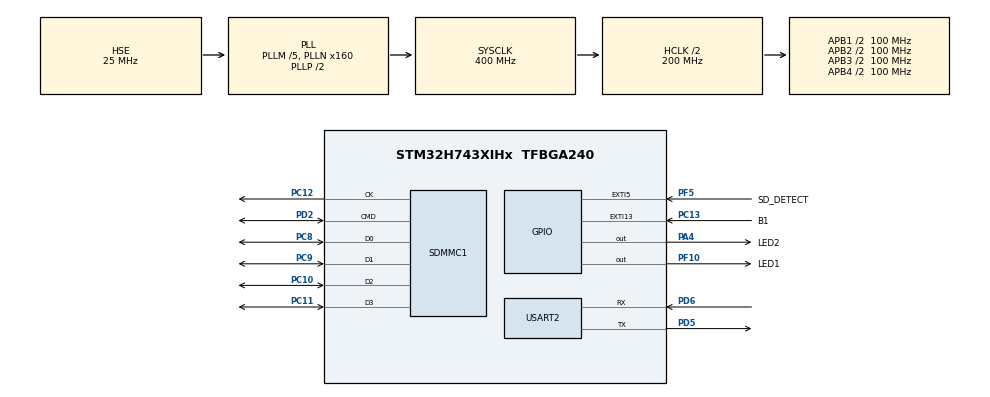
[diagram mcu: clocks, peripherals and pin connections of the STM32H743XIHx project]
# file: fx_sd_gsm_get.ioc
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CORTEX_M7.CPU_DCache=Enabled
CORTEX_M7.CPU_ICache=Enabled
CORTEX_M7.default_mode_Activation=1
Mcu.Family=STM32H7
Mcu.Name=STM32H743XIHx
Mcu.Package=TFBGA240
NVIC.EXTI9_5_IRQn=true\:6\:0\:true\:false\:true\:false\:true\:true\:true
NVIC.PriorityGroup=NVIC_PRIORITYGROUP_4
NVIC.SDMMC1_IRQn=true\:7\:0\:true\:false\:true\:false\:true\:true\:true
NVIC.TIM6_DAC_IRQn=true\:15\:0\:false\:false\:true\:false\:false\:true\:true
NVIC.TimeBase=TIM6_DAC_IRQn
NVIC.TimeBaseIP=TIM6
NVIC.USART2_IRQn=true\:0\:0\:false\:false\:true\:false\:true\:true\:true
PA4.GPIO_Label=LED2
PA4.GPIO_Speed=GPIO_SPEED_FREQ_HIGH
PA4.PinState=GPIO_PIN_SET
PA4.Signal=GPIO_Output
PC10.Mode=SD_4_bits_Wide_bus
PC10.Signal=SDMMC1_D2
PC11.Mode=SD_4_bits_Wide_bus
PC11.Signal=SDMMC1_D3
PC12.Mode=SD_4_bits_Wide_bus
PC12.Signal=SDMMC1_CK
PC13.GPIO_Label=B1
PC13.Signal=GPXTI13
PC8.Mode=SD_4_bits_Wide_bus
PC8.Signal=SDMMC1_D0
PC9.Mode=SD_4_bits_Wide_bus
PC9.Signal=SDMMC1_D1
PD2.Mode=SD_4_bits_Wide_bus
PD2.Signal=SDMMC1_CMD
PD5.Mode=Asynchronous
PD5.Signal=USART2_TX
PD6.Mode=Asynchronous
PD6.Signal=USART2_RX
PF10.GPIO_Label=LED1
PF10.GPIO_Speed=GPIO_SPEED_FREQ_HIGH
PF10.PinState=GPIO_PIN_SET
PF10.Signal=GPIO_Output
PF5.GPIO_Label=SD_DETECT
PF5.GPIO_ModeDefaultEXTI=GPIO_MODE_IT_RISING_FALLING
PF5.GPIO_PuPd=GPIO_PULLUP
PF5.Signal=GPXTI5
PH0-OSC_IN\ (PH0).Mode=HSE-External-Oscillator
PH0-OSC_IN\ (PH0).Signal=RCC_OSC_IN
PH1-OSC_OUT\ (PH1).Mode=HSE-External-Oscillator
PH1-OSC_OUT\ (PH1).Signal=RCC_OSC_OUT
ProjectManager.HeapSize=0x200
ProjectManager.StackSize=0x400
ProjectManager.TargetToolchain=STM32CubeIDE
RCC.ADCFreq_Value=50390625
RCC.APB1Freq_Value=100000000
RCC.APB2Freq_Value=100000000
RCC.APB3Freq_Value=100000000
RCC.APB4Freq_Value=100000000
RCC.CortexFreq_Value=400000000
RCC.D1PPRE=RCC_APB3_DIV2
RCC.D2PPRE1=RCC_APB1_DIV2
RCC.D2PPRE2=RCC_APB2_DIV2
RCC.D3PPRE=RCC_APB4_DIV2
RCC.DIVM1=5
RCC.DIVN1=160
RCC.DIVN3=160
RCC.DIVQ1=4
RCC.HCLKFreq_Value=200000000
RCC.HPRE=RCC_HCLK_DIV2
RCC.PLL2FRACN=0
RCC.PLL3FRACN=0
RCC.PLLFRACN=0
RCC.PLLSourceVirtual=RCC_PLLSOURCE_HSE
RCC.PWR_Regulator_Voltage_Scale=PWR_REGULATOR_VOLTAGE_SCALE1
RCC.SDMMC1CLockSelection=RCC_SDMMCCLKSOURCE_PLL2
RCC.SYSCLKFreq_VALUE=400000000
RCC.SYSCLKSource=RCC_SYSCLKSOURCE_PLLCLK
RCC.USBFreq_Value=200000000
STMicroelectronics.X-CUBE-AZRTOS-H7.3.2.0.FX_DRIVER_SD_INIT=1
STMicroelectronics.X-CUBE-AZRTOS-H7.3.2.0.FileXCcFileOoSystemJjFileXJjCore=true
STMicroelectronics.X-CUBE-AZRTOS-H7.3.2.0.InterfacesCcFileOoSystemJjFileXOoSDOointerface=true
STMicroelectronics.X-CUBE-AZRTOS-H7.3.2.0.ThreadXCcRTOSJjThreadXJjCore=true
STMicroelectronics.X-CUBE-AZRTOS-H7.3.2.0_IsAnAzureRtosMw=true
USART2.VirtualMode-Asynchronous=VM_ASYNC
VP_STMicroelectronics.X-CUBE-AZRTOS-H7_VS_FileOoSystemJjFileX_6.2.1_3.2.0.Mode=FileOoSystemJjFileX
VP_STMicroelectronics.X-CUBE-AZRTOS-H7_VS_FileOoSystemJjInterfaces_3.2.0_3.2.0.Mode=FileOoSystemJjInterfaces
VP_STMicroelectronics.X-CUBE-AZRTOS-H7_VS_RTOSJjThreadX_6.2.1_3.2.0.Mode=RTOSJjThreadX
VP_SYS_VS_tim6.Mode=TIM6
board=STM32H743I-EVAL2

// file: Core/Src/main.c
/* USER CODE BEGIN Header */
/**
  ******************************************************************************
  * @file           : main.c
  * @brief          : Main program body
  ******************************************************************************
  * @attention
  *
  * Copyright (c) 2024 STMicroelectronics.
  * All rights reserved.
  *
  * This software is licensed under terms that can be found in the LICENSE file
  * in the root directory of this software component.
  * If no LICENSE file comes with this software, it is provided AS-IS.
  *
  ******************************************************************************
  */
/* USER CODE END Header */
#include "app_threadx.h"
#include "main.h"
#include "sdmmc.h"
#include "usart.h"
#include "gpio.h"

/* USER CODE BEGIN Includes */
#include <stdlib.h>
#include "MQTTSim800.h"
#include <string.h>
#include <stdio.h>
/* USER CODE END Includes */

/* USER CODE BEGIN PV */
SIM800_t SIM800;
uint8_t buf[30] = {0};
//uint8_t sub = 0;
unsigned char  rec[64] ;

/* USER CODE END PV */

void SystemClock_Config(void);
//static void MPU_Config(void);
/* USER CODE BEGIN PFP */
 uint32_t GetSector(uint32_t Address);

/* USER CODE END PFP */

/* USER CODE BEGIN 0 */
 void HAL_UART_RxCpltCallback(UART_HandleTypeDef *huart) {
     if (huart == UART_SIM800) {
         Sim800_RxCallBack();
     }
 }
/* USER CODE END 0 */

int main(void)
{

  /* Enable I-Cache---------------------------------------------------------*/
  SCB_EnableICache();

  /* Enable D-Cache---------------------------------------------------------*/
  SCB_EnableDCache();

  /* MCU Configuration--------------------------------------------------------*/

  /* Reset of all peripherals, Initializes the Flash interface and the Systick. */
  HAL_Init();

  /* MPU Configuration--------------------------------------------------------*/
  //MPU_Config();

  /* Configure the system clock */
  SystemClock_Config();

  /* Initialize all configured peripherals */
  MX_GPIO_Init();
  MX_SDMMC1_SD_Init();
  MX_USART2_UART_Init();
  /* USER CODE BEGIN 2 */
  // MQQT settings
      SIM800.sim.apn = "weborange";
      SIM800.sim.apn_user = "";
      SIM800.sim.apn_pass = "";
      SIM800.mqttServer.host = "test.mosquitto.org";
      SIM800.mqttServer.port = 1883;
      SIM800.mqttClient.username = "";
      SIM800.mqttClient.pass = "";
      SIM800.mqttClient.clientID = "TestSub";
      SIM800.mqttClient.keepAliveInterval = 120;

      MQTT_Init();

  /* USER CODE END 2 */

  MX_ThreadX_Init();

  /* We should never get here as control is now taken by the scheduler */
  /* Infinite loop */
  while (1)
  {

  }
}

void SystemClock_Config(void)
{
	RCC_ClkInitTypeDef RCC_ClkInitStruct;
		  RCC_OscInitTypeDef RCC_OscInitStruct;
		  RCC_PeriphCLKInitTypeDef RCC_PeriphCLKInitStruct;
		  HAL_StatusTypeDef ret = HAL_OK;

		  /*!< Supply configuration update enable */
		  HAL_PWREx_ConfigSupply(PWR_LDO_SUPPLY);

		  /* The voltage scaling allows optimizing the power consumption when the device is
		     clocked below the maximum system frequency, to update the voltage scaling value
		     regarding system frequency refer to product datasheet.  */
		  __HAL_PWR_VOLTAGESCALING_CONFIG(PWR_REGULATOR_VOLTAGE_SCALE1);

		  while(!__HAL_PWR_GET_FLAG(PWR_FLAG_VOSRDY)) {}

		  /* Enable HSE Oscillator and activate PLL with HSE as source */
		  RCC_OscInitStruct.OscillatorType = RCC_OSCILLATORTYPE_HSE;
		  RCC_OscInitStruct.HSEState = RCC_HSE_ON;
		  RCC_OscInitStruct.HSIState = RCC_HSI_OFF;
		  RCC_OscInitStruct.CSIState = RCC_CSI_OFF;
		  RCC_OscInitStruct.PLL.PLLState = RCC_PLL_ON;
		  RCC_OscInitStruct.PLL.PLLSource = RCC_PLLSOURCE_HSE;

		  RCC_OscInitStruct.PLL.PLLM = 5;
		  RCC_OscInitStruct.PLL.PLLN = 160;
		  RCC_OscInitStruct.PLL.PLLFRACN = 0;
		  RCC_OscInitStruct.PLL.PLLP = 2;
		  RCC_OscInitStruct.PLL.PLLR = 2;
		  RCC_OscInitStruct.PLL.PLLQ = 4;

		  RCC_OscInitStruct.PLL.PLLVCOSEL = RCC_PLL1VCOWIDE;
		  RCC_OscInitStruct.PLL.PLLRGE = RCC_PLL1VCIRANGE_2;
		  ret = HAL_RCC_OscConfig(&RCC_OscInitStruct);
		  if(ret != HAL_OK)
		  {
		    Error_Handler();
		  }

		/* Select PLL as system clock source and configure  bus clocks dividers */
		  RCC_ClkInitStruct.ClockType = (RCC_CLOCKTYPE_SYSCLK | RCC_CLOCKTYPE_HCLK | RCC_CLOCKTYPE_D1PCLK1 | RCC_CLOCKTYPE_PCLK1 | \
		                                  RCC_CLOCKTYPE_PCLK2  | RCC_CLOCKTYPE_D3PCLK1);

		  RCC_ClkInitStruct.SYSCLKSource = RCC_SYSCLKSOURCE_PLLCLK;
		  RCC_ClkInitStruct.SYSCLKDivider = RCC_SYSCLK_DIV1;
		  RCC_ClkInitStruct.AHBCLKDivider = RCC_HCLK_DIV2;
		  RCC_ClkInitStruct.APB3CLKDivider = RCC_APB3_DIV2;
		  RCC_ClkInitStruct.APB1CLKDivider = RCC_APB1_DIV2;
		  RCC_ClkInitStruct.APB2CLKDivider = RCC_APB2_DIV2;
		  RCC_ClkInitStruct.APB4CLKDivider = RCC_APB4_DIV2;
		  ret = HAL_RCC_ClockConfig(&RCC_ClkInitStruct, FLASH_LATENCY_4);
		  if(ret != HAL_OK)
		  {
		    Error_Handler();
		  }

		  /* PLL2_VCO Input = HSE_VALUE/PLL2_M = 5 Mhz */
		  /* PLL2_VCO Output = PLL2_VCO Input * PLL_N = 700 Mhz */
		  /* SDMMC Kernel Clock = PLL2_VCO Output/PLL_R = 700/6 = 116 Mhz */
		  RCC_PeriphCLKInitStruct.PeriphClockSelection = RCC_PERIPHCLK_SDMMC;
		  RCC_PeriphCLKInitStruct.SdmmcClockSelection = RCC_SDMMCCLKSOURCE_PLL2;
		  RCC_PeriphCLKInitStruct.PLL2.PLL2RGE = RCC_PLL1VCIRANGE_2;
		  RCC_PeriphCLKInitStruct.PLL2.PLL2M = 5;
		  RCC_PeriphCLKInitStruct.PLL2.PLL2N = 140;
		  RCC_PeriphCLKInitStruct.PLL2.PLL2FRACN = 0;
		  RCC_PeriphCLKInitStruct.PLL2.PLL2P = 2;
		  RCC_PeriphCLKInitStruct.PLL2.PLL2R = 6;
		  RCC_PeriphCLKInitStruct.PLL2.PLL2Q = 4;
		  RCC_PeriphCLKInitStruct.PLL2.PLL2VCOSEL = RCC_PLL2VCOWIDE;
		  ret = HAL_RCCEx_PeriphCLKConfig(&RCC_PeriphCLKInitStruct);
		  if(ret != HAL_OK)
		  {
		    Error_Handler();
		  }

		  /*activate CSI clock mondatory for I/O Compensation Cell*/
		  __HAL_RCC_CSI_ENABLE() ;

		  /* Enable SYSCFG clock mondatory for I/O Compensation Cell */
		  __HAL_RCC_SYSCFG_CLK_ENABLE() ;

		  /* Enables the I/O Compensation Cell */
		  HAL_EnableCompensationCell();
}

/* USER CODE BEGIN 4 */

uint32_t GetSector(uint32_t Address)
{
  uint32_t sector = 0;

  if(((Address < ADDR_FLASH_SECTOR_1_BANK1) && (Address >= ADDR_FLASH_SECTOR_0_BANK1)) || \
     ((Address < ADDR_FLASH_SECTOR_1_BANK2) && (Address >= ADDR_FLASH_SECTOR_0_BANK2)))
  {
    sector = FLASH_SECTOR_0;
  }
  else if(((Address < ADDR_FLASH_SECTOR_2_BANK1) && (Address >= ADDR_FLASH_SECTOR_1_BANK1)) || \
          ((Address < ADDR_FLASH_SECTOR_2_BANK2) && (Address >= ADDR_FLASH_SECTOR_1_BANK2)))
  {
    sector = FLASH_SECTOR_1;
  }
  else if(((Address < ADDR_FLASH_SECTOR_3_BANK1) && (Address >= ADDR_FLASH_SECTOR_2_BANK1)) || \
          ((Address < ADDR_FLASH_SECTOR_3_BANK2) && (Address >= ADDR_FLASH_SECTOR_2_BANK2)))
  {
    sector = FLASH_SECTOR_2;
  }
  else if(((Address < ADDR_FLASH_SECTOR_4_BANK1) && (Address >= ADDR_FLASH_SECTOR_3_BANK1)) || \
          ((Address < ADDR_FLASH_SECTOR_4_BANK2) && (Address >= ADDR_FLASH_SECTOR_3_BANK2)))
  {
    sector = FLASH_SECTOR_3;
  }
  else if(((Address < ADDR_FLASH_SECTOR_5_BANK1) && (Address >= ADDR_FLASH_SECTOR_4_BANK1)) || \
          ((Address < ADDR_FLASH_SECTOR_5_BANK2) && (Address >= ADDR_FLASH_SECTOR_4_BANK2)))
  {
    sector = FLASH_SECTOR_4;
  }
  else if(((Address < ADDR_FLASH_SECTOR_6_BANK1) && (Address >= ADDR_FLASH_SECTOR_5_BANK1)) || \
          ((Address < ADDR_FLASH_SECTOR_6_BANK2) && (Address >= ADDR_FLASH_SECTOR_5_BANK2)))
  {
    sector = FLASH_SECTOR_5;
  }
  else if(((Address < ADDR_FLASH_SECTOR_7_BANK1) && (Address >= ADDR_FLASH_SECTOR_6_BANK1)) || \
          ((Address < ADDR_FLASH_SECTOR_7_BANK2) && (Address >= ADDR_FLASH_SECTOR_6_BANK2)))
  {
    sector = FLASH_SECTOR_6;
  }
  else if(((Address < ADDR_FLASH_SECTOR_0_BANK2) && (Address >= ADDR_FLASH_SECTOR_7_BANK1)) || \
          ((Address < FLASH_END_ADDR) && (Address >= ADDR_FLASH_SECTOR_7_BANK2)))
  {
     sector = FLASH_SECTOR_7;
  }
  else
  {
    sector = FLASH_SECTOR_7;
  }

  return sector;
}
/* USER CODE END 4 */

/* MPU Configuration */

void MPU_Config(void)
{
  MPU_Region_InitTypeDef MPU_InitStruct = {0};

  /* Disables the MPU */
  HAL_MPU_Disable();

  /** Initializes and configures the Region and the memory to be protected
  */
  MPU_InitStruct.Enable = MPU_REGION_ENABLE;
  MPU_InitStruct.Number = MPU_REGION_NUMBER0;
  MPU_InitStruct.BaseAddress = 0x0;
  MPU_InitStruct.Size = MPU_REGION_SIZE_4GB;
  MPU_InitStruct.SubRegionDisable = 0x87;
  MPU_InitStruct.TypeExtField = MPU_TEX_LEVEL0;
  MPU_InitStruct.AccessPermission = MPU_REGION_NO_ACCESS;
  MPU_InitStruct.DisableExec = MPU_INSTRUCTION_ACCESS_DISABLE;
  MPU_InitStruct.IsShareable = MPU_ACCESS_SHAREABLE;
  MPU_InitStruct.IsCacheable = MPU_ACCESS_NOT_CACHEABLE;
  MPU_InitStruct.IsBufferable = MPU_ACCESS_NOT_BUFFERABLE;

  HAL_MPU_ConfigRegion(&MPU_InitStruct);
  /* Enables the MPU */
  HAL_MPU_Enable(MPU_PRIVILEGED_DEFAULT);

}

void HAL_TIM_PeriodElapsedCallback(TIM_HandleTypeDef *htim)
{
  if (htim->Instance == TIM6) {
    HAL_IncTick();
  }
}

void Error_Handler(void)
{
  __disable_irq();
  while (1)
  {
  }
}
